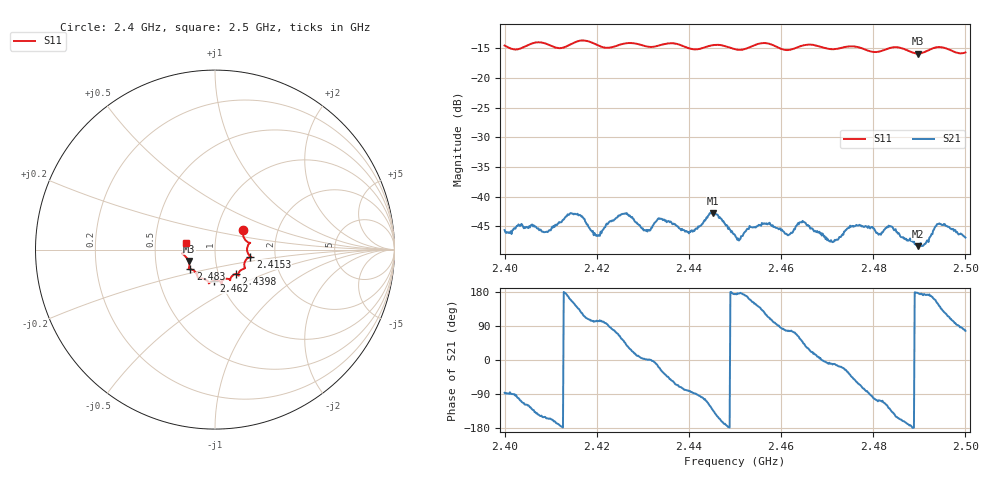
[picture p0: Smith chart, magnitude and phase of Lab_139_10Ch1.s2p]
# Hz S RI R 50
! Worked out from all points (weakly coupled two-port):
!   601 points, 2.4 GHz to 2.5 GHz, reference 50 ohm
!   highest |S21| = -42.76 dB at 2.4452 GHz (marker M1); lowest = -48.4 dB at 2.4897 GHz (marker M2)
!   lowest |S11| = -15.9 dB at 2.4897 GHz (marker M3), VSWR 1.38, Z = 36.9 - j4.82 ohm
!   |S11| at or under -10 dB: start of sweep to end of sweep
!   S12 and S22 are empty: the file has one direction only
!   S11 on the Smith chart (normalised r, x): 2.4 GHz: 1.33, +0.29; 2.4153 GHz: 1.48, -0.12; 2.4398 GHz: 1.21, -0.34; 2.462 GHz: 0.93, -0.33; 2.483 GHz: 0.74, -0.17; 2.5 GHz: 0.72, +0.06
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2.4e9  0.1546 0.1066  0.000313 -0.0052  0 0  0 0
2.409e9  0.1915 0.0343  -0.00449 -0.00224  0 0  0 0
2.415333e9  0.1967 -0.0387  -0.00582 0.00415  0 0  0 0
2.416667e9  0.2025 -0.0428  -0.00382 0.0056  0 0  0 0
2.420167e9  0.1834 -0.0468  -0.00097 0.00454  0 0  0 0
2.425667e9  0.166 -0.0997  0.00437 0.00565  0 0  0 0
2.430667e9  0.1466 -0.1132  0.00513 0.000126  0 0  0 0
2.433333e9  0.1311 -0.1337  0.00622 -0.00197  0 0  0 0
2.439833e9  0.1154 -0.1364  0.000834 -0.00496  0 0  0 0
2.445167e9  0.0843 -0.1693  -0.00487 -0.0054  0 0  0 0
2.45e9  0.0648 -0.1624  -0.00469 0.000537  0 0  0 0
2.456333e9  0.0388 -0.1932  -0.00347 0.00483  0 0  0 0
2.462e9  -0.0051 -0.173  0.00115 0.00471  0 0  0 0
2.4645e9  -0.0303 -0.1844  0.00385 0.00466  0 0  0 0
2.466667e9  -0.0342 -0.1877  0.00504 0.00189  0 0  0 0
2.471e9  -0.0582 -0.1648  0.00411 -0.000703  0 0  0 0
2.4755e9  -0.0932 -0.1598  0.00393 -0.00407  0 0  0 0
2.483e9  -0.1377 -0.1094  -0.00273 -0.00484  0 0  0 0
2.483333e9  -0.1402 -0.1091  -0.00341 -0.00455  0 0  0 0
2.489667e9  -0.1474 -0.0636  -0.00381 0.00022  0 0  0 0
2.494333e9  -0.1809 -0.0217  -0.00468 0.00364  0 0  0 0
2.5e9  -0.1594 0.0392  0.00101 0.00439  0 0  0 0
